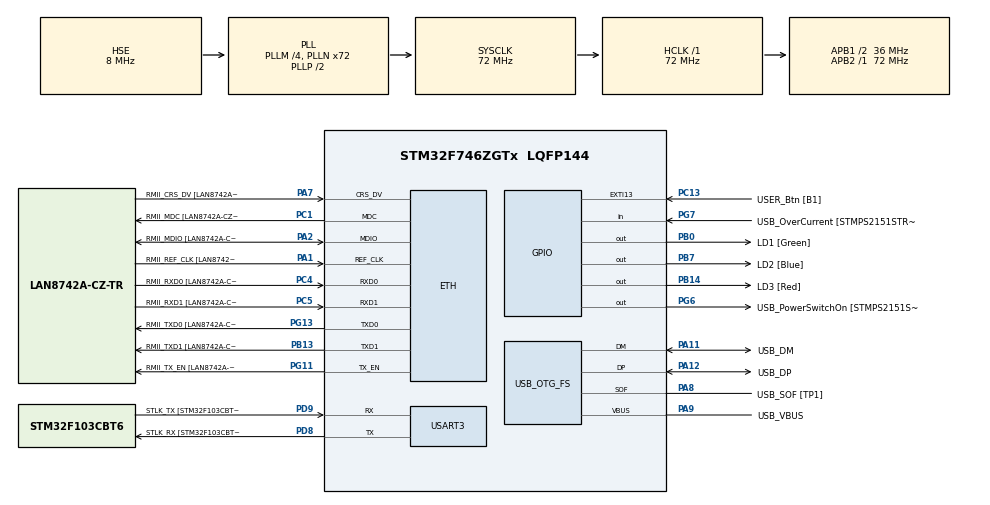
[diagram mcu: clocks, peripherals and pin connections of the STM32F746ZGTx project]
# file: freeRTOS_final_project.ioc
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ETH.MediaInterface=HAL_ETH_RMII_MODE
ETH.PHY_Name=LAN8742A_PHY_ADDRESS
ETH.PHY_Value=0
ETH.PhyAddress=0
FREERTOS.Tasks01=defaultTask,24,128,StartDefaultTask,Default,NULL,Dynamic,NULL,NULL
Mcu.Family=STM32F7
Mcu.Name=STM32F746ZGTx
Mcu.Package=LQFP144
NVIC.PriorityGroup=NVIC_PRIORITYGROUP_4
NVIC.USART3_IRQn=true\:5\:0\:false\:false\:true\:true\:true\:true\:true
PA1.GPIO_Label=RMII_REF_CLK [LAN8742A-CZ-TR_REFCLK0]
PA1.Mode=RMII
PA1.Signal=ETH_REF_CLK
PA10.GPIO_Label=USB_ID
PA10.Signal=USB_OTG_FS_ID
PA11.GPIO_Label=USB_DM
PA11.Mode=Device_Only
PA11.Signal=USB_OTG_FS_DM
PA12.GPIO_Label=USB_DP
PA12.Mode=Device_Only
PA12.Signal=USB_OTG_FS_DP
PA13.GPIO_Label=TMS
PA13.Mode=Serial_Wire
PA13.Signal=SYS_JTMS-SWDIO
PA14.GPIO_Label=TCK
PA14.Mode=Serial_Wire
PA14.Signal=SYS_JTCK-SWCLK
PA2.GPIO_Label=RMII_MDIO [LAN8742A-CZ-TR_MDIO]
PA2.Mode=RMII
PA2.Signal=ETH_MDIO
PA7.GPIO_Label=RMII_CRS_DV [LAN8742A-CZ-TR_CRS_DV]
PA7.Mode=RMII
PA7.Signal=ETH_CRS_DV
PA8.GPIO_Label=USB_SOF [TP1]
PA8.Mode=Activate_SOF_FS
PA8.Signal=USB_OTG_FS_SOF
PA9.GPIO_Label=USB_VBUS
PA9.Mode=Activate_VBUS
PA9.Signal=USB_OTG_FS_VBUS
PB0.GPIO_Label=LD1 [Green]
PB0.Signal=GPIO_Output
PB13.GPIO_Label=RMII_TXD1 [LAN8742A-CZ-TR_TXD1]
PB13.Mode=RMII
PB13.Signal=ETH_TXD1
PB14.GPIO_Label=LD3 [Red]
PB14.Signal=GPIO_Output
PB3.GPIO_Label=SW0
PB3.Signal=SYS_JTDO-SWO
PB7.GPIO_Label=LD2 [Blue]
PB7.Signal=GPIO_Output
PC1.GPIO_Label=RMII_MDC [LAN8742A-CZ-TR_MDC]
PC1.Mode=RMII
PC1.Signal=ETH_MDC
PC13.GPIO_Label=USER_Btn [B1]
PC13.Signal=GPXTI13
PC14/OSC32_IN.Mode=LSE-External-Oscillator
PC14/OSC32_IN.Signal=RCC_OSC32_IN
PC15/OSC32_OUT.Mode=LSE-External-Oscillator
PC15/OSC32_OUT.Signal=RCC_OSC32_OUT
PC4.GPIO_Label=RMII_RXD0 [LAN8742A-CZ-TR_RXD0]
PC4.Mode=RMII
PC4.Signal=ETH_RXD0
PC5.GPIO_Label=RMII_RXD1 [LAN8742A-CZ-TR_RXD1]
PC5.Mode=RMII
PC5.Signal=ETH_RXD1
PD8.GPIO_Label=STLK_RX [STM32F103CBT6_PA3]
PD8.GPIO_PuPd=GPIO_PULLUP
PD8.Mode=Asynchronous
PD8.Signal=USART3_TX
PD9.GPIO_Label=STLK_TX [STM32F103CBT6_PA2]
PD9.GPIO_PuPd=GPIO_PULLUP
PD9.Mode=Asynchronous
PD9.Signal=USART3_RX
PG11.GPIO_Label=RMII_TX_EN [LAN8742A-CZ-TR_TXEN]
PG11.Mode=RMII
PG11.Signal=ETH_TX_EN
PG13.GPIO_Label=RMII_TXD0 [LAN8742A-CZ-TR_TXD0]
PG13.Mode=RMII
PG13.Signal=ETH_TXD0
PG6.GPIO_Label=USB_PowerSwitchOn [STMPS2151STR_EN]
PG6.Signal=GPIO_Output
PG7.GPIO_Label=USB_OverCurrent [STMPS2151STR_FAULT]
PG7.Signal=GPIO_Input
PH0/OSC_IN.GPIO_Label=MCO [STM32F103CBT6_PA8]
PH0/OSC_IN.Mode=HSE-External-Clock-Source
PH0/OSC_IN.Signal=RCC_OSC_IN
PH1/OSC_OUT.Mode=HSE-External-Clock-Source
PH1/OSC_OUT.Signal=RCC_OSC_OUT
ProjectManager.HeapSize=0x200
ProjectManager.StackSize=0x400
ProjectManager.TargetToolchain=STM32CubeIDE
RCC.48MHZClocksFreq_Value=24000000
RCC.AHBFreq_Value=72000000
RCC.APB1CLKDivider=RCC_HCLK_DIV2
RCC.APB1Freq_Value=36000000
RCC.APB1TimFreq_Value=72000000
RCC.APB2Freq_Value=72000000
RCC.APB2TimFreq_Value=72000000
RCC.CortexFreq_Value=72000000
RCC.HCLKFreq_Value=72000000
RCC.HSE_VALUE=8000000
RCC.HSI_VALUE=16000000
RCC.PLLM=4
RCC.PLLMUL=RCC_PLL_MUL9
RCC.PLLN=72
RCC.PLLQ=3
RCC.PRESCALERUSB=RCC_USBCLKSOURCE_PLL_DIV1_5
RCC.SYSCLKFreq_VALUE=72000000
RCC.SYSCLKSource=RCC_SYSCLKSOURCE_PLLCLK
RCC.SYSCLKSourceVirtual=RCC_SYSCLKSOURCE_PLLCLK
RCC.USBFreq_Value=48000000
RCC.VCOOutputFreq_Value=144000000
USART3.VirtualMode-Asynchronous=VM_ASYNC
USB_OTG_FS.VirtualMode=Device_Only
VP_FREERTOS_VS_CMSIS_V2.Mode=CMSIS_V2
board=NUCLEO-F746ZG

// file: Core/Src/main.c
/* USER CODE BEGIN Header */
/**
  ******************************************************************************
  * @file           : main.c
  * @brief          : Main program body
  ******************************************************************************
  * @attention
  *
  * Copyright (c) 2024 STMicroelectronics.
  * All rights reserved.
  *
  * This software is licensed under terms that can be found in the LICENSE file
  * in the root directory of this software component.
  * If no LICENSE file comes with this software, it is provided AS-IS.
  *
  ******************************************************************************
  */
/* USER CODE END Header */
#include "main.h"
#include "string.h"
#include "cmsis_os.h"

/* USER CODE BEGIN Includes */
#include "main.h"
#include "string.h"
#include "cmsis_os.h"
#include "FreeRTOS.h"
#include "task.h"
#include "stdlib.h"
#include "semphr.h"
#include <stdio.h>
#include "timers.h"
/* USER CODE END Includes */

/* USER CODE BEGIN PTD */
typedef StaticTask_t osStaticThreadDef_t;
typedef StaticQueue_t osStaticMessageQDef_t;
typedef enum {
    POLICE,
    FIRE,
    AMBULANCE,
    CORONA
}department_id;

typedef struct {
    uint8_t init_num;
    uint8_t concurrent_num;
    uint8_t available_num;

}department_data;

typedef struct {
    department_id dep_id;
    uint8_t requested_vehicles;
    uint32_t time_to_complete;
}request;

typedef struct {
    uint8_t available_num;
}dispatcher_data;
/* USER CODE END PTD */

/* USER CODE BEGIN PD */

#define MIN(a, b) (((a) < (b)) ? (a) : (b))

#define DEPARTMENTS_NUM 4
#define MAX_NUM_REQUESTED_VEHICLES 10
#define MAX_SR_HANDLES 10 // max number of handles for sr threads in each department

#define INIT_POLICE_NUM 10
#define INIT_AMBULANCE_NUM 10
#define INIT_FIRE_NUM 10
#define INIT_CORONA_NUM 10
#define CORONA_CONCURRENT_NUM 10
#define AMBULANCE_CONCURRENT_NUM 10
#define POLICE_CONCURRENT_NUM 10
#define FIRE_CONCURRENT_NUM 10
#define INIT_DISPATCHER_SIZE 50
#define DISPATCH_INIT_BUFF_SIZE_BYTES 10
#define AMBULANCE_INIT_BUFF_SIZE_BYTES 10
#define FIRE_INIT_BUFF_SIZE_BYTES 10
#define CORONA_INIT_BUFF_SIZE_BYTES 10
#define POLICE_INIT_BUFF_SIZE_BYTES 10
#define LOG_TIMER_INTERVAL 1000
#define DISPATCH_QUEUE_TIMEOUT portMAX_DELAY
#define POLICE_QUEUE_TIMEOUT portMAX_DELAY
#define FIRE_QUEUE_TIMEOUT portMAX_DELAY
#define AMBULANCE_QUEUE_TIMEOUT portMAX_DELAY
#define CORONA_QUEUE_TIMEOUT portMAX_DELAY
#define LOG_TIMER_INTERVAL 1000
#define XTICKS_MAX 500
#define LOGGING_THREAD_PRIORITY (1)
#define LOG_THREAD_BUFFER_SIZE (128)

/* Define for GenerateThread */
#define GENERATE_THREAD_PRIORITY (2)
#define GENERATE_THREAD_BUFFER_SIZE (128)

/* Define for DispatchThread */
#define DISPATCH_THREAD_PRIORITY (2)
#define DISPATCH_THREAD_BUFFER_SIZE (128)

/* Define for PoliceThread */
#define POLICE_THREAD_PRIORITY (2)
#define POLICE_THREAD_BUFFER_SIZE (128)

/* Define for FireThread */
#define FIRE_THREAD_PRIORITY (2)
#define FIRE_THREAD_BUFFER_SIZE (128)

/* Define for AmbulanceThread */
#define AMBULANCE_THREAD_PRIORITY (2)
#define AMBULANCE_THREAD_BUFFER_SIZE (128)

/* Define for CoronaThread */
#define CORONA_THREAD_PRIORITY (2)
#define CORONA_THREAD_BUFFER_SIZE (128)

#define AMBULANCE_SR_THREAD_PRIORITY (2)
#define AMBULANCE_SR_THREAD_BUFFER_SIZE (128)

#define POLICE_SR_THREAD_PRIORITY (2)
#define POLICE_SR_THREAD_BUFFER_SIZE (128)

#define CORONA_SR_THREAD_PRIORITY (2)
#define CORONA_SR_THREAD_BUFFER_SIZE (128)

#define FIRE_SR_THREAD_PRIORITY (2)
#define FIRE_SR_THREAD_BUFFER_SIZE (128)

#define SEMAPHORE_WAIT_TIME portMAX_DELAY
/* USER CODE END PD */

#if defined ( __ICCARM__ ) /*!< IAR Compiler */
#pragma location=0x2004c000
ETH_DMADescTypeDef  DMARxDscrTab[ETH_RX_DESC_CNT]; /* Ethernet Rx DMA Descriptors */
#pragma location=0x2004c0a0
ETH_DMADescTypeDef  DMATxDscrTab[ETH_TX_DESC_CNT]; /* Ethernet Tx DMA Descriptors */

#elif defined ( __CC_ARM )  /* MDK ARM Compiler */

__attribute__((at(0x2004c000))) ETH_DMADescTypeDef  DMARxDscrTab[ETH_RX_DESC_CNT]; /* Ethernet Rx DMA Descriptors */
__attribute__((at(0x2004c0a0))) ETH_DMADescTypeDef  DMATxDscrTab[ETH_TX_DESC_CNT]; /* Ethernet Tx DMA Descriptors */

#elif defined ( __GNUC__ ) /* GNU Compiler */
ETH_DMADescTypeDef DMARxDscrTab[ETH_RX_DESC_CNT] __attribute__((section(".RxDecripSection"))); /* Ethernet Rx DMA Descriptors */
ETH_DMADescTypeDef DMATxDscrTab[ETH_TX_DESC_CNT] __attribute__((section(".TxDecripSection")));   /* Ethernet Tx DMA Descriptors */

#endif

ETH_TxPacketConfig TxConfig;

ETH_HandleTypeDef heth;

UART_HandleTypeDef huart3;

PCD_HandleTypeDef hpcd_USB_OTG_FS;

/* Definitions for defaultTask */
osThreadId_t defaultTaskHandle;
const osThreadAttr_t defaultTask_attributes = {
  .name = "defaultTask",
  .stack_size = 128 * 4,
  .priority = (osPriority_t) osPriorityNormal,
};
/* USER CODE BEGIN PV */
uint32_t totalVehicles = MAX_NUM_REQUESTED_VEHICLES;

BaseType_t department_thread_priority[DEPARTMENTS_NUM] = { POLICE_SR_THREAD_PRIORITY, FIRE_SR_THREAD_PRIORITY, AMBULANCE_SR_THREAD_PRIORITY, CORONA_SR_THREAD_PRIORITY };
department_data police_dep = { INIT_POLICE_NUM, POLICE_CONCURRENT_NUM, POLICE_CONCURRENT_NUM };
department_data fire_dep = { INIT_FIRE_NUM, FIRE_CONCURRENT_NUM, FIRE_CONCURRENT_NUM };
department_data ambulance_dep = { INIT_AMBULANCE_NUM, AMBULANCE_CONCURRENT_NUM, AMBULANCE_CONCURRENT_NUM };
department_data corona_dep = { INIT_CORONA_NUM, CORONA_CONCURRENT_NUM, CORONA_CONCURRENT_NUM };
department_data department_list[DEPARTMENTS_NUM] = { 0 };
dispatcher_data dispatch_data = { INIT_DISPATCHER_SIZE };

SemaphoreHandle_t policeSemaphore;
SemaphoreHandle_t globalSemaphore;

SemaphoreHandle_t ambulanceSemaphore;
SemaphoreHandle_t fireSemaphore;
SemaphoreHandle_t coronaSemaphore;

/* Definitions for loggingThread */
TaskHandle_t loggingThreadHandle;

/* Definitions for GenerateThread */
TaskHandle_t generateThreadHandle;

/* Definitions for DispatchThread */

TaskHandle_t dispatchThreadHandle;

/* Definitions for PoliceThread */
TaskHandle_t policeThreadHandle;

/* Definitions for FireThread */
TaskHandle_t fireThreadHandle;

/* Definitions for AmbulanceThread */
TaskHandle_t ambulanceThreadHandle;

/* Definitions for CoronaThread */
TaskHandle_t coronaThreadHandle;

/* Definitions for DispatchQueue */
QueueHandle_t DispatchQueueHandle;

/* Definitions for AmbulanceQueue */
QueueHandle_t AmbulanceQueueHandle;

/* Definitions for PoliceQueue */
QueueHandle_t PoliceQueueHandle;

/* Definitions for FireQueue */
QueueHandle_t FireQueueHandle;

/* Definitions for CoronaQueue */
QueueHandle_t CoronaQueueHandle;

QueueHandle_t department_queue_handles_lists[DEPARTMENTS_NUM];
TickType_t QueueTimeoutList[DEPARTMENTS_NUM] = { POLICE_QUEUE_TIMEOUT,FIRE_QUEUE_TIMEOUT,AMBULANCE_QUEUE_TIMEOUT,CORONA_QUEUE_TIMEOUT };

//TaskFunction_t loggingStartThread(void* argument);
SemaphoreHandle_t semaphoreList[DEPARTMENTS_NUM];
/* USER CODE END PV */

void SystemClock_Config(void);
static void MX_GPIO_Init(void);
static void MX_ETH_Init(void);
static void MX_USART3_UART_Init(void);
static void MX_USB_OTG_FS_PCD_Init(void);
void StartDefaultTask(void *argument);

/* USER CODE BEGIN PFP */
TaskFunction_t dispatchTask(void* argument);
TaskFunction_t departmentTask(void* dep_id); //argument is speartment_id
int __io_putchar(int ch);
TaskFunction_t generateTask(void* argument);
void releaseResources(int i, department_id depar_id);
TaskFunction_t ServiceRoutine(void* req);

/* USER CODE END PFP */

int main(void)
{

  /* MCU Configuration--------------------------------------------------------*/

  /* Reset of all peripherals, Initializes the Flash interface and the Systick. */
  HAL_Init();

  /* Configure the system clock */
  SystemClock_Config();

  /* Initialize all configured peripherals */
  MX_GPIO_Init();
  MX_ETH_Init();
  MX_USART3_UART_Init();
  MX_USB_OTG_FS_PCD_Init();
  /* USER CODE BEGIN 2 */
  department_list[POLICE] = police_dep;
  department_list[FIRE] = fire_dep;
  department_list[AMBULANCE] = ambulance_dep;
  department_list[CORONA] = corona_dep;

  policeSemaphore = xSemaphoreCreateCounting(
	  MIN(POLICE_CONCURRENT_NUM, INIT_POLICE_NUM),
	  MIN(POLICE_CONCURRENT_NUM, INIT_POLICE_NUM)
  );
  printf("police semaphore count: %d\r\n", uxSemaphoreGetCount(policeSemaphore));
  fireSemaphore = xSemaphoreCreateCounting(
	  MIN(FIRE_CONCURRENT_NUM, INIT_FIRE_NUM),
	  MIN(FIRE_CONCURRENT_NUM, INIT_FIRE_NUM)
  );
  printf("fire semaphore count: %d\r\n", uxSemaphoreGetCount(fireSemaphore));

  ambulanceSemaphore = xSemaphoreCreateCounting(
	  MIN(AMBULANCE_CONCURRENT_NUM, INIT_AMBULANCE_NUM),
	  MIN(AMBULANCE_CONCURRENT_NUM, INIT_AMBULANCE_NUM)
  );
  HAL_UART_Transmit(&huart3, "blabla\r\n", strlen("blabla\r\n"), HAL_MAX_DELAY);
  printf("ambulance semaphore count: %d\r\n", uxSemaphoreGetCount(ambulanceSemaphore));

  coronaSemaphore = xSemaphoreCreateCounting(
	  MIN(CORONA_CONCURRENT_NUM, INIT_CORONA_NUM),
	  MIN(CORONA_CONCURRENT_NUM, INIT_CORONA_NUM)
  );
  printf("corona semaphore count: %d\r\n", uxSemaphoreGetCount(coronaSemaphore));

  globalSemaphore = xSemaphoreCreateCounting(MAX_NUM_REQUESTED_VEHICLES,
	  MAX_NUM_REQUESTED_VEHICLES);
  printf("global semaphore count: %d\r\n", uxSemaphoreGetCount(globalSemaphore));

  semaphoreList[0] = policeSemaphore;
  semaphoreList[1] = fireSemaphore;

  semaphoreList[2] = ambulanceSemaphore;

  semaphoreList[3] = coronaSemaphore;

  /* Create the queue(s) */
  /* creation of DispatchQueue */
  DispatchQueueHandle = xQueueCreate(DISPATCH_INIT_BUFF_SIZE_BYTES, sizeof(request));

  /* creation of AmbulanceQueue */
  AmbulanceQueueHandle = xQueueCreate(AMBULANCE_INIT_BUFF_SIZE_BYTES, sizeof(request));

  /* creation of PoliceQueue */
  PoliceQueueHandle = xQueueCreate(POLICE_INIT_BUFF_SIZE_BYTES, sizeof(request));

  /* creation of FireQueue */
  FireQueueHandle = xQueueCreate(FIRE_INIT_BUFF_SIZE_BYTES, sizeof(request));

  /* creation of CoronaQueue */
  CoronaQueueHandle = xQueueCreate(CORONA_INIT_BUFF_SIZE_BYTES, sizeof(request));

  /* creation of loggingThread */
  //BaseType_t log_thread = xTaskCreate(loggingStartThread, (const char*)"loggingStartThread", (const void*)LOG_THREAD_BUFFER_SIZE, NULL, LOGGING_THREAD_PRIORITY, (const TaskHandle_t*)&loggingThreadHandle);
  department_id corona_depar = CORONA;
  department_id fire_depar = FIRE;
  department_id police_depar = POLICE;
  department_id ambulance_depar = AMBULANCE;

  /* USER CODE BEGIN RTOS_THREADS */
  BaseType_t generate_thread = xTaskCreate(generateTask, (const char * const)"generateThread", (const)GENERATE_THREAD_BUFFER_SIZE, NULL, GENERATE_THREAD_PRIORITY, (TaskHandle_t * const)&generateThreadHandle);
  BaseType_t dispatch_thread = xTaskCreate(dispatchTask, (const char * const)"dispatchThread", (const)DISPATCH_THREAD_BUFFER_SIZE, NULL, DISPATCH_THREAD_PRIORITY, (TaskHandle_t * const)&dispatchThreadHandle);

  BaseType_t police_thread = xTaskCreate(departmentTask, (const char * const)"policeThread", (const)POLICE_THREAD_BUFFER_SIZE, (void *)police_depar,(UBaseType_t)POLICE_THREAD_PRIORITY, (TaskHandle_t * const)&policeThreadHandle);

  BaseType_t fire_thread = xTaskCreate(departmentTask, (const char * const)"fireThread", (const)FIRE_THREAD_BUFFER_SIZE, (void *)fire_depar, (UBaseType_t)FIRE_THREAD_PRIORITY, (TaskHandle_t * const)&fireThreadHandle);
  BaseType_t ambulnace_thread = xTaskCreate(departmentTask, (const char * const)"ambulanceThread", (const)AMBULANCE_THREAD_BUFFER_SIZE, (void *)ambulance_depar, (UBaseType_t)AMBULANCE_THREAD_PRIORITY, (TaskHandle_t * const)&ambulanceThreadHandle);
  BaseType_t corona_thread = xTaskCreate(departmentTask, (const char * const)"coronaThread", (const)CORONA_THREAD_BUFFER_SIZE, (void *)corona_depar, (UBaseType_t)CORONA_THREAD_PRIORITY, (TaskHandle_t * const)&coronaThreadHandle);

/*const char * const pcName,	lint !e971 Unqualified char types are allowed for strings and single characters only.
							const configSTACK_DEPTH_TYPE usStackDepth,
							void * const pvParameters,
							UBaseType_t uxPriority,
							TaskHandle_t * const pxCreatedTask ) PRIVILEGED_FUNCTION;*/
  vTaskStartScheduler();
  /* USER CODE END 2 */

  /* Init scheduler */

  /* Create the thread(s) */
  /* creation of defaultTask */

/*const char * const pcName,	lint !e971 Unqualified char types are allowed for strings and single characters only.
							const configSTACK_DEPTH_TYPE usStackDepth,
							void * const pvParameters,
							UBaseType_t uxPriority,
							TaskHandle_t * const pxCreatedTask ) PRIVILEGED_FUNCTION;*/
  /* USER CODE END 2 */

  /* Init scheduler */

  /* Create the thread(s) */
  /* creation of defaultTask */

  /* Start scheduler */

  /* We should never get here as control is now taken by the scheduler */
  /* Infinite loop */
  while (1)
  {

  }
}

void SystemClock_Config(void)
{
  RCC_OscInitTypeDef RCC_OscInitStruct = {0};
  RCC_ClkInitTypeDef RCC_ClkInitStruct = {0};

  /** Configure LSE Drive Capability
  */
  HAL_PWR_EnableBkUpAccess();

  /** Configure the main internal regulator output voltage
  */
  __HAL_RCC_PWR_CLK_ENABLE();
  __HAL_PWR_VOLTAGESCALING_CONFIG(PWR_REGULATOR_VOLTAGE_SCALE3);

  /** Initializes the RCC Oscillators according to the specified parameters
  * in the RCC_OscInitTypeDef structure.
  */
  RCC_OscInitStruct.OscillatorType = RCC_OSCILLATORTYPE_HSE;
  RCC_OscInitStruct.HSEState = RCC_HSE_BYPASS;
  RCC_OscInitStruct.PLL.PLLState = RCC_PLL_ON;
  RCC_OscInitStruct.PLL.PLLSource = RCC_PLLSOURCE_HSE;
  RCC_OscInitStruct.PLL.PLLM = 4;
  RCC_OscInitStruct.PLL.PLLN = 72;
  RCC_OscInitStruct.PLL.PLLP = RCC_PLLP_DIV2;
  RCC_OscInitStruct.PLL.PLLQ = 3;
  if (HAL_RCC_OscConfig(&RCC_OscInitStruct) != HAL_OK)
  {
    Error_Handler();
  }

  /** Initializes the CPU, AHB and APB buses clocks
  */
  RCC_ClkInitStruct.ClockType = RCC_CLOCKTYPE_HCLK|RCC_CLOCKTYPE_SYSCLK
                              |RCC_CLOCKTYPE_PCLK1|RCC_CLOCKTYPE_PCLK2;
  RCC_ClkInitStruct.SYSCLKSource = RCC_SYSCLKSOURCE_PLLCLK;
  RCC_ClkInitStruct.AHBCLKDivider = RCC_SYSCLK_DIV1;
  RCC_ClkInitStruct.APB1CLKDivider = RCC_HCLK_DIV2;
  RCC_ClkInitStruct.APB2CLKDivider = RCC_HCLK_DIV1;

  if (HAL_RCC_ClockConfig(&RCC_ClkInitStruct, FLASH_LATENCY_2) != HAL_OK)
  {
    Error_Handler();
  }
}

static void MX_ETH_Init(void)
{

   static uint8_t MACAddr[6];

  heth.Instance = ETH;
  MACAddr[0] = 0x00;
  MACAddr[1] = 0x80;
  MACAddr[2] = 0xE1;
  MACAddr[3] = 0x00;
  MACAddr[4] = 0x00;
  MACAddr[5] = 0x00;
  heth.Init.MACAddr = &MACAddr[0];
  heth.Init.MediaInterface = HAL_ETH_RMII_MODE;
  heth.Init.TxDesc = DMATxDscrTab;
  heth.Init.RxDesc = DMARxDscrTab;
  heth.Init.RxBuffLen = 1524;

  if (HAL_ETH_Init(&heth) != HAL_OK)
  {
    Error_Handler();
  }

  memset(&TxConfig, 0 , sizeof(ETH_TxPacketConfig));
  TxConfig.Attributes = ETH_TX_PACKETS_FEATURES_CSUM | ETH_TX_PACKETS_FEATURES_CRCPAD;
  TxConfig.ChecksumCtrl = ETH_CHECKSUM_IPHDR_PAYLOAD_INSERT_PHDR_CALC;
  TxConfig.CRCPadCtrl = ETH_CRC_PAD_INSERT;

}

static void MX_USART3_UART_Init(void)
{

  huart3.Instance = USART3;
  huart3.Init.BaudRate = 115200;
  huart3.Init.WordLength = UART_WORDLENGTH_8B;
  huart3.Init.StopBits = UART_STOPBITS_1;
  huart3.Init.Parity = UART_PARITY_NONE;
  huart3.Init.Mode = UART_MODE_TX_RX;
  huart3.Init.HwFlowCtl = UART_HWCONTROL_NONE;
  huart3.Init.OverSampling = UART_OVERSAMPLING_16;
  huart3.Init.OneBitSampling = UART_ONE_BIT_SAMPLE_DISABLE;
  huart3.AdvancedInit.AdvFeatureInit = UART_ADVFEATURE_NO_INIT;
  if (HAL_UART_Init(&huart3) != HAL_OK)
  {
    Error_Handler();
  }

}

static void MX_USB_OTG_FS_PCD_Init(void)
{

  hpcd_USB_OTG_FS.Instance = USB_OTG_FS;
  hpcd_USB_OTG_FS.Init.dev_endpoints = 6;
  hpcd_USB_OTG_FS.Init.speed = PCD_SPEED_FULL;
  hpcd_USB_OTG_FS.Init.dma_enable = DISABLE;
  hpcd_USB_OTG_FS.Init.phy_itface = PCD_PHY_EMBEDDED;
  hpcd_USB_OTG_FS.Init.Sof_enable = ENABLE;
  hpcd_USB_OTG_FS.Init.low_power_enable = DISABLE;
  hpcd_USB_OTG_FS.Init.lpm_enable = DISABLE;
  hpcd_USB_OTG_FS.Init.vbus_sensing_enable = ENABLE;
  hpcd_USB_OTG_FS.Init.use_dedicated_ep1 = DISABLE;
  if (HAL_PCD_Init(&hpcd_USB_OTG_FS) != HAL_OK)
  {
    Error_Handler();
  }

}

static void MX_GPIO_Init(void)
{
  GPIO_InitTypeDef GPIO_InitStruct = {0};

  /* GPIO Ports Clock Enable */
  __HAL_RCC_GPIOC_CLK_ENABLE();
  __HAL_RCC_GPIOH_CLK_ENABLE();
  __HAL_RCC_GPIOA_CLK_ENABLE();
  __HAL_RCC_GPIOB_CLK_ENABLE();
  __HAL_RCC_GPIOD_CLK_ENABLE();
  __HAL_RCC_GPIOG_CLK_ENABLE();

  /*Configure GPIO pin Output Level */
  HAL_GPIO_WritePin(GPIOB, LD1_Pin|LD3_Pin|LD2_Pin, GPIO_PIN_RESET);

  /*Configure GPIO pin Output Level */
  HAL_GPIO_WritePin(USB_PowerSwitchOn_GPIO_Port, USB_PowerSwitchOn_Pin, GPIO_PIN_RESET);

  /*Configure GPIO pin : USER_Btn_Pin */
  GPIO_InitStruct.Pin = USER_Btn_Pin;
  GPIO_InitStruct.Mode = GPIO_MODE_IT_RISING;
  GPIO_InitStruct.Pull = GPIO_NOPULL;
  HAL_GPIO_Init(USER_Btn_GPIO_Port, &GPIO_InitStruct);

  /*Configure GPIO pins : LD1_Pin LD3_Pin LD2_Pin */
  GPIO_InitStruct.Pin = LD1_Pin|LD3_Pin|LD2_Pin;
  GPIO_InitStruct.Mode = GPIO_MODE_OUTPUT_PP;
  GPIO_InitStruct.Pull = GPIO_NOPULL;
  GPIO_InitStruct.Speed = GPIO_SPEED_FREQ_LOW;
  HAL_GPIO_Init(GPIOB, &GPIO_InitStruct);

  /*Configure GPIO pin : USB_PowerSwitchOn_Pin */
  GPIO_InitStruct.Pin = USB_PowerSwitchOn_Pin;
  GPIO_InitStruct.Mode = GPIO_MODE_OUTPUT_PP;
  GPIO_InitStruct.Pull = GPIO_NOPULL;
  GPIO_InitStruct.Speed = GPIO_SPEED_FREQ_LOW;
  HAL_GPIO_Init(USB_PowerSwitchOn_GPIO_Port, &GPIO_InitStruct);

  /*Configure GPIO pin : USB_OverCurrent_Pin */
  GPIO_InitStruct.Pin = USB_OverCurrent_Pin;
  GPIO_InitStruct.Mode = GPIO_MODE_INPUT;
  GPIO_InitStruct.Pull = GPIO_NOPULL;
  HAL_GPIO_Init(USB_OverCurrent_GPIO_Port, &GPIO_InitStruct);

}

TaskFunction_t dispatchTask(void* argument) {

    BaseType_t retval_Sent_From_Dispatch_Queue = 0;
    BaseType_t retval_Police_Send = 0;
    BaseType_t retval_Fire_Send = 0;
    BaseType_t retval_Corona_Send = 0;
    BaseType_t retval_Ambulance_Send = 0;

    BaseType_t retval_Send_to_dep_list[DEPARTMENTS_NUM] = { retval_Police_Send,retval_Fire_Send, retval_Ambulance_Send,retval_Corona_Send };
    department_queue_handles_lists[POLICE] = PoliceQueueHandle;
    department_queue_handles_lists[FIRE] = FireQueueHandle;
    department_queue_handles_lists[AMBULANCE] = AmbulanceQueueHandle;
    department_queue_handles_lists[CORONA] = CoronaQueueHandle;

    request req = { 0 };
    while (1) {
        if ((retval_Sent_From_Dispatch_Queue = xQueueReceive(DispatchQueueHandle, &req, DISPATCH_QUEUE_TIMEOUT)) == pdPASS) {
            department_id id = req.dep_id;

            printf("dispatcher got request: dep_id: %d, requested vehicles: %u, time to comlete: %u\r\n", req.dep_id, req.requested_vehicles, req.time_to_complete);

            if ((retval_Send_to_dep_list[id] = xQueueSendToBack(department_queue_handles_lists[id], &req, QueueTimeoutList[id])) == pdPASS) {
                printf("request sent to department!\r\n");
                switch (id) {
                case FIRE:
                    printf("Fire request was sent to department!\r\n");
                    break;
                case AMBULANCE:
                    printf("Ambulance request was sent to department!\r\n");
                    break;
                case CORONA:
                    printf("Corona request was sent to department!\r\n");
                    break;
                case POLICE:
                    printf("Police request was sent to department!\r\n");
                    break;
                default:
                    break;

                }
            }
            else {
               printf(" dispatcher sending request to department %d failed. time passed or queue is full!\r\n", (int)id);

            }
        }
        else {
           printf(" dispatcher couldnt get request. receiving request from main queue was failed. time passed or queue is empty!\r\n");

        }
    }
}

// @brief: this function takes request from department queue and send to execute thread
TaskFunction_t departmentTask(void* dep_id) {//argument is speartment_id

    department_id depar_id = (department_id)dep_id;
    BaseType_t retval_SR_thread;
    request req;
    int thread_buffer_list[DEPARTMENTS_NUM] = { POLICE_SR_THREAD_BUFFER_SIZE, FIRE_SR_THREAD_BUFFER_SIZE, AMBULANCE_SR_THREAD_BUFFER_SIZE,CORONA_SR_THREAD_BUFFER_SIZE };
    TaskHandle_t SR_handle_array[MAX_SR_HANDLES] = { 0 };
    uint8_t sr_handle_index = 0;

    while (1)
    {
        sr_handle_index %= MAX_SR_HANDLES;
        if (xQueueReceive(department_queue_handles_lists[depar_id], &req, QueueTimeoutList[depar_id]) == pdPASS)
        {
           printf(" department %d received request\r\n", (int)depar_id);
            switch (depar_id) {
            case FIRE:
               // printf("Got request from fire department sending to SR!\r\n");
                break;
            case AMBULANCE:
              //  printf("Got request from ambulance department sending to SR!\r\n");
                break;
            case POLICE:
              //  printf("Got request from police department sending to SR!\r\n");
                break;
            case CORONA:
              //  printf("Got request from corona department sending to SR!\r\n");
                break;
            }
            if ((retval_SR_thread = xTaskCreate(
                ServiceRoutine,
                (const char*)"ServiceRoutineThread",
                thread_buffer_list[depar_id],
                (void const*)&req, //request to be passed
                department_thread_priority[depar_id],
                (const TaskHandle_t*)&SR_handle_array[sr_handle_index])) == pdPASS) //should i add handles to each of task created?
            {
                printf("New SR was created!\r\n");
                sr_handle_index++;
            }
            else {
                printf("NEW SR failed to be created!\r\n");
            }
        }
        else {
            printf("receive request from %d department queue failed. queue empty or time passed!\r\n", (int)depar_id);

        }
    }
}

TaskFunction_t ServiceRoutine(void* req) {
    request* reques = (request*)req;//
    department_id depar_id = reques->dep_id;
    int glob_semaphore_count_before_1 = uxSemaphoreGetCount(globalSemaphore);

    SemaphoreHandle_t department_semaphore = semaphoreList[depar_id];
    printf("department request %d entered service routine\r\n", depar_id);
    int i = 0;
    printf("requested cars: %d, sempahoreglobal: %d, concurrentsemaphore: %d", reques->requested_vehicles, uxSemaphoreGetCount(globalSemaphore), uxSemaphoreGetCount(department_semaphore));
    while (i < reques->requested_vehicles) {
        printf("global sempahore count: %ld, concurrent semaphore count: %ld", uxSemaphoreGetCount(globalSemaphore), uxSemaphoreGetCount(department_semaphore));
        int glob_semaphore_count_before_2 = uxSemaphoreGetCount(globalSemaphore);
        if (xSemaphoreTake(globalSemaphore, 0) == pdPASS && xSemaphoreTake(semaphoreList[depar_id], 0) == pdPASS) {
            printf("global semaphore and depar semaphore were taken! priority is %d\r\n", uxTaskPriorityGet(NULL));
            vTaskPrioritySet(NULL, uxTaskPriorityGet(NULL) + 1);// increases prioirity by one
            i++;
            int glob_semaphore_count_before_3 = uxSemaphoreGetCount(globalSemaphore);
            totalVehicles--;
            department_list[depar_id].available_num--;
            department_list[depar_id].concurrent_num--;
            /* in case all resources for execution acquired, exectues, releases all semaphores and end task*/
            if (i == reques->requested_vehicles - 1) {
                printf("##################################sending vehicles!\r\n");
                vTaskDelay(pdMS_TO_TICKS(reques->time_to_complete));
                releaseResources(i, depar_id);
                printf("released resources!\r\n");
                int glob_semaphore_count_before_4 = uxSemaphoreGetCount(globalSemaphore);
                vTaskDelete(NULL);
            }
        }
        else {
            /* in deadlock releases all semaphores acquired and then start again*/
            releaseResources(i, depar_id);
            vTaskPrioritySet(NULL, (UBaseType_t)department_thread_priority[depar_id]);
            int glob_semaphore_count_before_5 = uxSemaphoreGetCount(globalSemaphore);
            printf("collision detected, released all semaphores!\r\n");
            i = 0;

        }
    }
}

void releaseResources(int i, department_id depar_id) {
    for (int j = 0; j < i;j++) {
        int glob_semaphore_count_before = uxSemaphoreGetCount(globalSemaphore);
        xSemaphoreGive(globalSemaphore);
        int glob_semahpore_count_after = uxSemaphoreGetCount(globalSemaphore);
        xSemaphoreGive(semaphoreList[depar_id]);
        printf("department semaphore and global were given!\r\n");
        totalVehicles++;
        department_list[depar_id].concurrent_num++;
        department_list[depar_id].available_num++;
        printf("released resources of %d department: totalVehicles: %d, concurrent num: %d, availble num: %d\r\n", depar_id, totalVehicles, department_list[depar_id].concurrent_num, department_list[depar_id].available_num);
        //to add delay time to break symmetry?
    }
}

/*

TaskFunction_t timerCallback(void* argument) {
    printf("Dispatcher initial size: %d\r\n", INIT_DISPATCHER_SIZE);
    printf("Dispatcher free size: %d\r\n", dispatch_data.available_num);
    printf("Dispatcher occupied size: %d\r\n", INIT_DISPATCHER_SIZE - dispatch_data.available_num);

}

TaskFunction_t loggingStartThread(void* argument)
{

    TimerHandle_t log_timer = xTimerCreate("LogTimer", pdMS_TO_TICKS(LOG_TIMER_INTERVAL), pdTRUE, 0, timerCallback);
    if (log_timer != NULL) {
        // Start the timer
        xTimerStart(log_timer, 0);
    }

}

*/
TaskFunction_t generateTask(void* argument)
{
    BaseType_t retval_Send_To_Dispatch_Queue = 0;
    while (1) {
        department_id dep = rand() % DEPARTMENTS_NUM;
        uint32_t active_time = 1;//rand() % XTICKS_MAX;
        uint8_t vehicle_num_to_dispatch = (rand() % MAX_NUM_REQUESTED_VEHICLES) + 1; // request num of vehicles can be only greater than zero
        request req = { dep,vehicle_num_to_dispatch,active_time };
        if ((retval_Send_To_Dispatch_Queue = xQueueSendToBack(DispatchQueueHandle, &req, DISPATCH_QUEUE_TIMEOUT)) == pdPASS) {
            printf("generated request. request was put inside main queue! request: dep: %d, active time: %u, vehicle num: %u\r\n", dep, active_time, vehicle_num_to_dispatch);

        }
        else {
            printf("request couldnt enter main queue due to it is full or time passed!\r\n");
        }

    }
}

int __io_putchar(int ch) {
  HAL_UART_Transmit(&huart3, (uint8_t*)&ch, 1, HAL_MAX_DELAY); // Replace huartX with your UART handle
  return ch;
}

void Error_Handler(void)
{
  __disable_irq();
  while (1)
  {
  }
}
